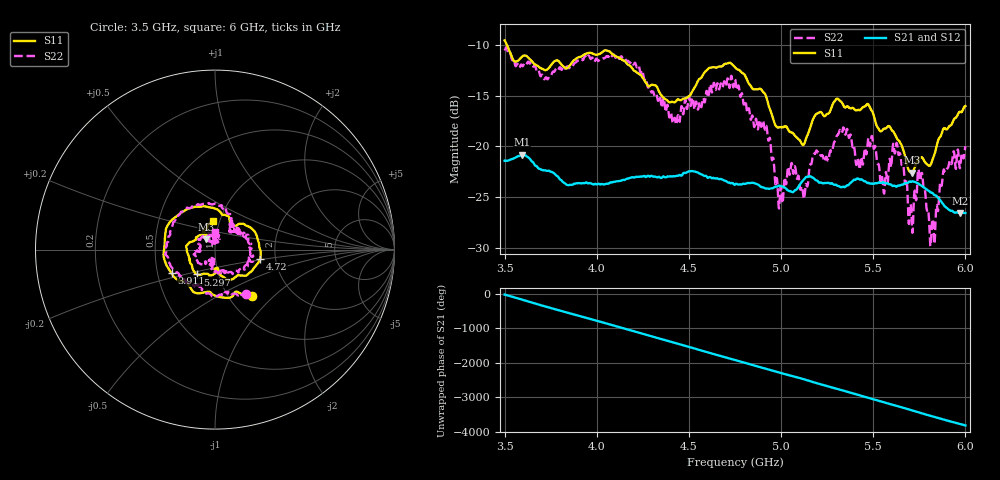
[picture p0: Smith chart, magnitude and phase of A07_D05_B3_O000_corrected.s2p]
! Created with skrf 1.9.0 (http://scikit-rf.org).
# Hz S RI R 50.0
!freq ReS11 ImS11 ReS21 ImS21 ReS12 ImS12 ReS22 ImS22
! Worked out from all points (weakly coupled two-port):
!   1601 points, 3.5 GHz to 6 GHz, reference 50 ohm
!   highest |S21| = -20.82 dB at 3.594 GHz (marker M1); lowest = -26.6 dB at 5.97 GHz (marker M2)
!   lowest |S11| = -22.6 dB at 5.709 GHz (marker M3), VSWR 1.16, Z = 45.2 + j5.18 ohm
!   |S11| at or under -10 dB: 3.512 GHz to end of sweep
!   |S22| runs from -29.8 to -10.2 dB; largest |S21 - S12| = 0.001
!   S11 on the Smith chart (normalised r, x): 3.5 GHz: 1.27, -0.75; 3.911 GHz: 0.59, -0.17; 4.72 GHz: 1.66, -0.18; 5.297 GHz: 0.79, -0.23; 6 GHz: 0.94, +0.30
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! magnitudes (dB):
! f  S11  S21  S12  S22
! 3.5 GHz  -9.6  -21.4  -21.4  -10.4
! 3.594 GHz  -11.2  -20.8  -20.8  -12.0
! 3.911 GHz  -11.2  -23.6  -23.6  -11.4
! 3.917 GHz  -11.2  -23.6  -23.6  -11.4
! 4.334 GHz  -14.5  -23.0  -22.9  -15.5
! 4.422 GHz  -15.7  -22.9  -22.9  -17.2
! 4.72 GHz  -11.8  -23.6  -23.6  -14.3
! 4.75 GHz  -12.2  -23.8  -23.7  -13.4
! 4.912 GHz  -14.8  -24.1  -24.1  -18.4
! 4.997 GHz  -18.1  -23.9  -23.9  -24.0
! 5.048 GHz  -18.6  -24.4  -24.4  -22.7
! 5.131 GHz  -19.5  -23.1  -23.1  -24.1
! 5.167 GHz  -17.6  -23.0  -23.0  -21.5
! 5.297 GHz  -15.4  -23.7  -23.7  -19.3
! 5.584 GHz  -18.0  -23.7  -23.7  -21.9
! 5.636 GHz  -19.4  -23.8  -23.8  -20.7
! 5.709 GHz  -22.6  -23.4  -23.4  -27.5
! 5.755 GHz  -21.1  -23.8  -23.7  -23.3
! 5.822 GHz  -21.3  -24.6  -24.6  -27.1
! 5.875 GHz  -18.5  -25.6  -25.5  -23.3
! 5.97 GHz  -16.6  -26.6  -26.5  -22.1
! 6 GHz  -16.0  -26.5  -26.5  -20.0
